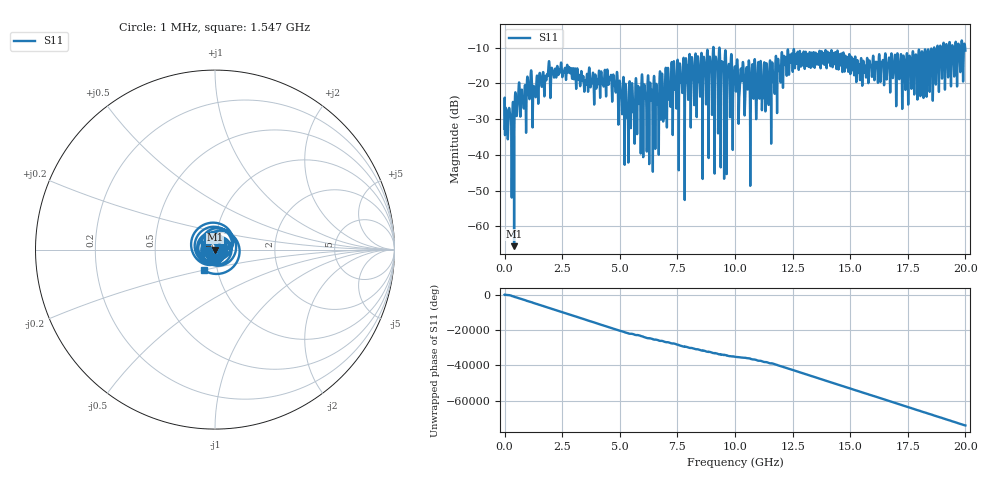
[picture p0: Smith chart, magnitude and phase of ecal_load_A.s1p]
! MS46122B
! 2250307/22442219
! 6/11/2025 1:18:30 PM
! C:\USERS\SPARKY\DOCUMENTS\VNA_DATA\JUNE11_2025\ECAL-LOAD.S1P
! CHANNEL.1
! TR.MEASUREMENT
! RAW.DATA
# GHZ S RI R 50.0
! FREQ.GHZ  S11RE  S11IM
!; PortSelection: Port_1
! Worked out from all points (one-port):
!   10001 points, 1 MHz to 20 GHz, reference 50 ohm
!   lowest |S11| = -65.5 dB at 413 MHz (marker M1), VSWR 1.00, Z = 50.1 - j0.0133 ohm
!   |S11| at or under -10 dB: start of sweep to 9.055 GHz; 9.07 GHz to 9.322 GHz (251.8 MHz wide, 2.74 % of centre); 9.326 GHz to 18.64 GHz (9.316 GHz wide, 66.6 % of centre) (the widest 3 of 14)
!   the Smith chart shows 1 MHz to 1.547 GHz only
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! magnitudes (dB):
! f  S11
! 1 MHz  -32.7
! 333 MHz  -30.1
! 413 MHz  -65.5
! 551 MHz  -27.5
! 857 MHz  -23.2
! 1.075 GHz  -24.3
! 1.285 GHz  -21.5
! 1.863 GHz  -17.6
! 2.501 GHz  -18.1
! 4.535 GHz  -18.9
! 5.001 GHz  -19.4
! 5.293 GHz  -26.7
! 5.485 GHz  -30.9
! 5.563 GHz  -23.4
! 6.029 GHz  -28.1
! 6.095 GHz  -22.9
! 6.615 GHz  -23.7
! 7.061 GHz  -21.0
! 7.501 GHz  -13.7
! 8.087 GHz  -25.1
! 8.933 GHz  -14.0
! 8.991 GHz  -20.2
! 10 GHz  -15.3
! 11.49 GHz  -16.4
! 12.5 GHz  -16.5
! 15 GHz  -17.0
! 17.5 GHz  -17.3
! 20 GHz  -10.8
